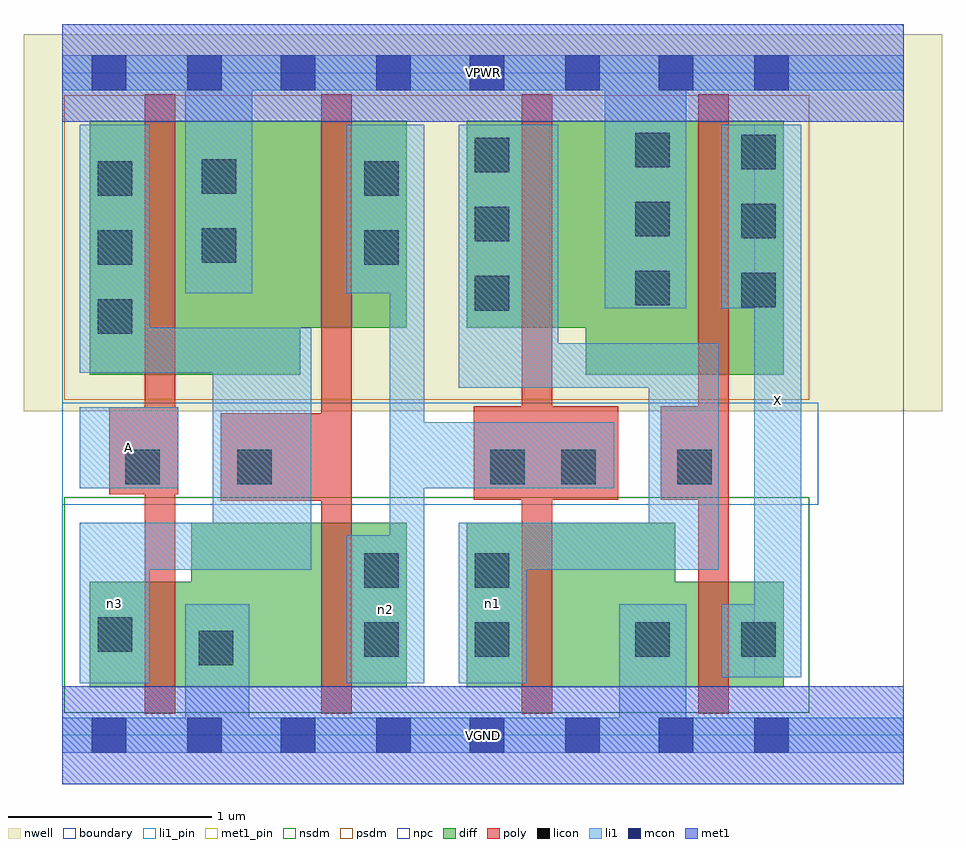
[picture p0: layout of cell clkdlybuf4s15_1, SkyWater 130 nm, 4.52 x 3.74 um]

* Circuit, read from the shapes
.subckt clkdlybuf4s15_1 A VGND VPWR X n1 n2 n3
XM1 VGND A n3 VSUBS sky130_fd_pr__nfet_01v8 w=0.52 l=0.15
XM2 n2 n3 VGND VSUBS sky130_fd_pr__nfet_01v8 w=0.81 l=0.15
XM3 VGND n2 n1 VSUBS sky130_fd_pr__nfet_01v8 w=0.81 l=0.15
XM4 X n1 VGND VSUBS sky130_fd_pr__nfet_01v8 w=0.52 l=0.15
XM5 VPWR A n3 n4 sky130_fd_pr__pfet_01v8 w=1.25 l=0.15
XM6 n2 n3 VPWR n4 sky130_fd_pr__pfet_01v8 w=1.02 l=0.15
XM7 VPWR n2 n1 n4 sky130_fd_pr__pfet_01v8 w=1.02 l=0.15
XM8 X n1 VPWR n4 sky130_fd_pr__pfet_01v8 w=1.25 l=0.15
.ends

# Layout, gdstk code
import gdstk
lib = gdstk.Library(unit=1e-6, precision=1e-09)
def R(c, l, rs):  # rectangles x0, y0, x1, y1
    for r in rs: c.add(gdstk.rectangle(r[:2], r[2:], *l))
def A(c, l, x, y, w, h, nx, ny, dx, dy):  # array of equal rectangles
    R(c, l, [(x+i*dx, y+j*dy, x+i*dx+w, y+j*dy+h) for i in range(nx) for j in range(ny)])
nwell = (64, 20)
diff = (65, 20)
poly = (66, 20)
licon = (66, 44)
li1_pin = (67, 16)
li1 = (67, 20)
mcon = (67, 44)
met1_pin = (68, 16)
met1 = (68, 20)
nsdm = (93, 44)
psdm = (94, 20)
npc = (95, 20)
boundary = (235, 4)

clkdlybuf4s15_1 = lib.new_cell('clkdlybuf4s15_1')
R(clkdlybuf4s15_1, nwell, [(-0.19,1.595,4.33,3.45), (0,1.595,4.14,3.45)])
R(clkdlybuf4s15_1, diff, [(0.135,0.235,1.695,0.755), (0.635,0.235,1.695,1.045), (1.99,0.235,3.55,0.755), (1.99,0.235,3.015,1.045), (0.135,1.775,1.17,3.025), (2.575,1.775,3.55,3.025), (0.135,2.005,1.695,3.025), (1.99,2.005,3.55,3.025)])
R(clkdlybuf4s15_1, poly, [(0.405,0.105,0.555,3.155), (1.275,0.105,1.425,3.155), (2.26,0.105,2.41,3.155), (3.13,0.105,3.28,3.155), (0.78,1.155,1.425,1.585), (2.025,1.16,2.735,1.62), (2.945,1.16,3.28,1.62), (0.23,1.185,0.57,1.615)])
A(clkdlybuf4s15_1, licon, 0.175, 1.975, 0.17, 0.17, 1, 3, 0, 0.34)
A(clkdlybuf4s15_1, licon, 2.03, 2.09, 0.17, 0.17, 1, 3, 0, 0.34)
A(clkdlybuf4s15_1, licon, 3.34, 2.105, 0.17, 0.17, 1, 3, 0, 0.34)
A(clkdlybuf4s15_1, licon, 2.82, 2.115, 0.17, 0.17, 1, 3, 0, 0.34)
R(clkdlybuf4s15_1, licon, [(0.67,0.345,0.84,0.515), (1.485,0.385,1.655,0.555), (2.03,0.385,2.2,0.555), (2.82,0.385,2.99,0.555), (3.34,0.385,3.51,0.555), (0.175,0.41,0.345,0.58), (1.485,0.725,1.655,0.895), (2.03,0.725,2.2,0.895), (0.31,1.235,0.48,1.405), (0.86,1.235,1.03,1.405), (2.105,1.235,2.275,1.405), (2.455,1.235,2.625,1.405), (3.025,1.235,3.195,1.405), (1.485,2.315,1.655,2.485), (0.685,2.325,0.855,2.495), (1.485,2.655,1.655,2.825), (0.685,2.665,0.855,2.835)])
R(clkdlybuf4s15_1, li1_pin, [(3.405,0.285,3.635,3.005), (0.085,1.215,0.57,1.615)])
R(clkdlybuf4s15_1, li1, [(0,-0.085,4.14,0.085), (0.605,-0.085,0.92,0.645), (2.74,-0.085,3.07,0.645), (0.085,0.255,0.43,1.045), (1.4,0.255,1.78,0.985), (1.61,0.255,1.78,3.005), (1.95,0.255,2.285,1.045), (3.245,0.285,3.635,0.645), (3.405,0.285,3.635,3.005), (0.085,0.815,1.225,1.045), (0.74,0.815,1.225,2.005), (1.95,0.815,3.23,1.045), (2.885,0.815,3.23,1.93), (0.085,1.215,0.57,1.615), (1.61,1.215,2.715,1.54), (1.95,1.71,2.44,3.005), (1.95,1.71,3.23,1.93), (0.085,1.785,0.43,3.005), (0.085,1.785,1.225,2.005), (2.67,2.1,3.07,3.345), (3.245,2.1,3.635,3.005), (0.605,2.175,0.935,3.345), (1.4,2.175,1.78,3.005), (0,3.175,4.14,3.345)])
R(clkdlybuf4s15_1, mcon, [(0.145,-0.085,0.315,0.085), (0.615,-0.085,0.785,0.085), (1.075,-0.085,1.245,0.085), (1.545,-0.085,1.715,0.085), (2.005,-0.085,2.175,0.085), (2.475,-0.085,2.645,0.085), (2.935,-0.085,3.105,0.085), (3.405,-0.085,3.575,0.085), (0.145,3.175,0.315,3.345), (0.615,3.175,0.785,3.345), (1.075,3.175,1.245,3.345), (1.545,3.175,1.715,3.345), (2.005,3.175,2.175,3.345), (2.475,3.175,2.645,3.345), (2.935,3.175,3.105,3.345), (3.405,3.175,3.575,3.345)])
R(clkdlybuf4s15_1, met1_pin, [(0,-0.24,4.14,0.24), (0,3.02,4.14,3.5)])
R(clkdlybuf4s15_1, met1, [(0,-0.24,4.14,0.24), (0,3.02,4.14,3.5)])
R(clkdlybuf4s15_1, nsdm, [(0.01,0.11,3.675,1.17)])
R(clkdlybuf4s15_1, psdm, [(0.01,1.65,3.675,3.15)])
R(clkdlybuf4s15_1, npc, [(0,1.135,3.72,1.635)])
R(clkdlybuf4s15_1, boundary, [(0,0,4.14,3.26)])
clkdlybuf4s15_1.add(gdstk.Label('A', (0.327,1.415), layer=67, texttype=5))
clkdlybuf4s15_1.add(gdstk.Label('X', (3.52,1.645), layer=67, texttype=5))
clkdlybuf4s15_1.add(gdstk.Label('n3', (0.257,0.65), layer=67, texttype=5))
clkdlybuf4s15_1.add(gdstk.Label('n2', (1.59,0.62), layer=67, texttype=5))
clkdlybuf4s15_1.add(gdstk.Label('n1', (2.117,0.65), layer=67, texttype=5))
clkdlybuf4s15_1.add(gdstk.Label('VPWR', (2.07,3.26), layer=68, texttype=5))
clkdlybuf4s15_1.add(gdstk.Label('VGND', (2.07,0), layer=68, texttype=5))
clkdlybuf4s15_1.add(gdstk.Label('A', (0.327,1.415), layer=67, texttype=16))
clkdlybuf4s15_1.add(gdstk.Label('X', (3.52,1.645), layer=67, texttype=16))
clkdlybuf4s15_1.add(gdstk.Label('VPWR', (2.07,3.26), layer=68, texttype=16))
clkdlybuf4s15_1.add(gdstk.Label('VGND', (2.07,0), layer=68, texttype=16))

lib.write_gds('clkdlybuf4s15_1.gds')
